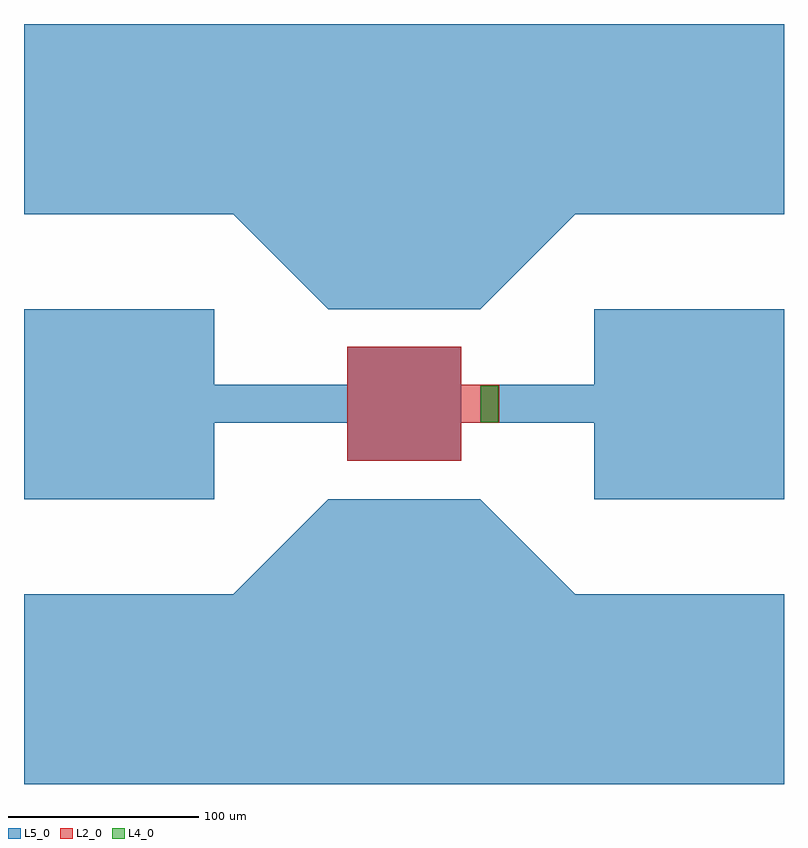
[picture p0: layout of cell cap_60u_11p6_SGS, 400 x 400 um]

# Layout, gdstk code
import gdstk
lib = gdstk.Library(unit=1e-6, precision=5e-10)
def R(c, l, rs):  # rectangles x0, y0, x1, y1
    for r in rs: c.add(gdstk.rectangle(r[:2], r[2:], *l))
def A(c, l, x, y, w, h, nx, ny, dx, dy):  # array of equal rectangles
    R(c, l, [(x+i*dx, y+j*dy, x+i*dx+w, y+j*dy+h) for i in range(nx) for j in range(ny)])
def P(c, l, *ps):  # polygons
    for p in ps: c.add(gdstk.Polygon(p, *l))
L2_0 = (2, 0)
L4_0 = (4, 0)
L5_0 = (5, 0)

cap_60u_11p6_sgs = lib.new_cell('cap_60u_11p6_SGS')
R(cap_60u_11p6_sgs, L2_0, [(-270,20.1,-210,80.1), (-210,40.1,-190,60.1)])
R(cap_60u_11p6_sgs, L4_0, [(-199.5,40.5,-190.5,59.5)])
A(cap_60u_11p6_sgs, L5_0, -440, -150, 100, 100, 1, 3, 0, 150)
A(cap_60u_11p6_sgs, L5_0, -140, -150, 100, 100, 1, 3, 0, 150)
R(cap_60u_11p6_sgs, L5_0, [(-360,-150,-125,-50), (-280,-55,-200,0), (-260,-55,-220,0), (-270,20.1,-210,80.1), (-341,40.1,-265,60.1), (-200,40.1,-121,60.1), (-280,100,-200,155), (-360,150,-125,250)])
P(cap_60u_11p6_sgs, L5_0, [(-200,0),(-150,-50),(-200,-50)],
  [(-280,0),(-330,-50),(-280,-50)],
  [(-280,100),(-330,150),(-280,150)],
  [(-200,100),(-150,150),(-200,150)])

lib.write_gds('cap_60u_11p6_SGS.gds')
